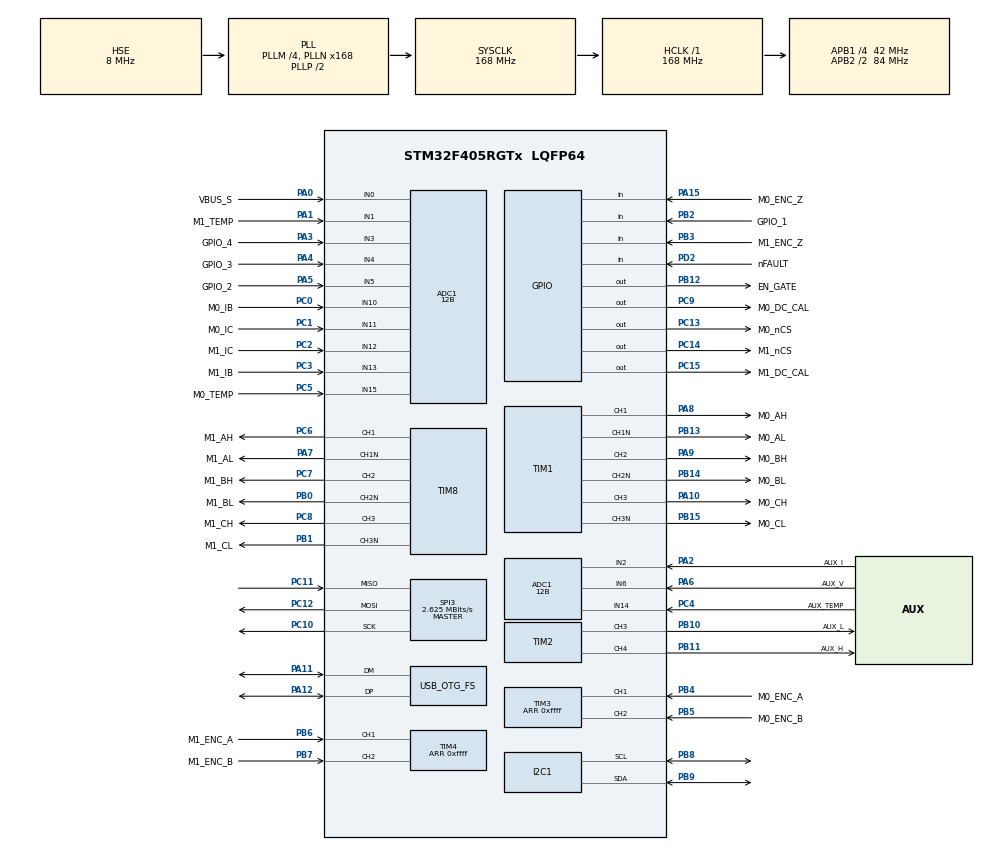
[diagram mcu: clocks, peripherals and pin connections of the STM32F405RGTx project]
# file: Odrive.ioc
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ADC1.AutoInjectedConv=DISABLE
ADC1.Channel-0\#ChannelRegularConversion=ADC_CHANNEL_5
ADC1.Channel-1\#ChannelInjectedConversion=ADC_CHANNEL_0
ADC1.ClockPrescaler=ADC_CLOCK_SYNC_PCLK_DIV4
ADC1.ContinuousConvMode=DISABLE
ADC1.DMAContinuousRequests=DISABLE
ADC1.DataAlign=ADC_DATAALIGN_RIGHT
ADC1.DiscontinuousConvMode=DISABLE
ADC1.EOCSelection=ADC_EOC_SINGLE_CONV
ADC1.EnableAnalogWatchDog=false
ADC1.ExternalTrigConv=ADC_SOFTWARE_START
ADC1.ExternalTrigConvEdge=ADC_EXTERNALTRIGCONVEDGE_NONE
ADC1.ExternalTrigInjecConv=ADC_EXTERNALTRIGINJECCONV_T1_CC4
ADC1.ExternalTrigInjecConvEdge=ADC_EXTERNALTRIGINJECCONVEDGE_RISING
ADC1.InjNumberOfConversion=1
ADC1.InjectedConvMode=None
ADC1.InjectedDiscontinuousConvMode=DISABLE
ADC1.InjectedOffset-1\#ChannelInjectedConversion=0
ADC1.NbrOfConversion=1
ADC1.NbrOfConversionFlag=1
ADC1.Rank-0\#ChannelRegularConversion=1
ADC1.Rank-1\#ChannelInjectedConversion=1
ADC1.Resolution=ADC_RESOLUTION_12B
ADC1.SamplingTime-0\#ChannelRegularConversion=ADC_SAMPLETIME_3CYCLES
ADC1.SamplingTime-1\#ChannelInjectedConversion=ADC_SAMPLETIME_3CYCLES
ADC1.ScanConvMode=DISABLE
ADC1.master=1
ADC2.AutoInjectedConv=DISABLE
ADC2.Channel-0\#ChannelRegularConversion=ADC_CHANNEL_13
ADC2.Channel-1\#ChannelInjectedConversion=ADC_CHANNEL_10
ADC2.ClockPrescaler=ADC_CLOCK_SYNC_PCLK_DIV4
ADC2.ContinuousConvMode=DISABLE
ADC2.DMAContinuousRequests=DISABLE
ADC2.DataAlign=ADC_DATAALIGN_RIGHT
ADC2.DiscontinuousConvMode=DISABLE
ADC2.EOCSelection=ADC_EOC_SINGLE_CONV
ADC2.EnableAnalogWatchDog=false
ADC2.ExternalTrigConv=ADC_EXTERNALTRIGCONV_T8_TRGO
ADC2.ExternalTrigConvEdge=ADC_EXTERNALTRIGCONVEDGE_RISING
ADC2.ExternalTrigInjecConv=ADC_EXTERNALTRIGINJECCONV_T1_CC4
ADC2.ExternalTrigInjecConvEdge=ADC_EXTERNALTRIGINJECCONVEDGE_RISING
ADC2.InjNumberOfConversion=1
ADC2.InjectedConvMode=None
ADC2.InjectedDiscontinuousConvMode=DISABLE
ADC2.InjectedOffset-1\#ChannelInjectedConversion=0
ADC2.NbrOfConversion=1
ADC2.NbrOfConversionFlag=1
ADC2.Rank-0\#ChannelRegularConversion=1
ADC2.Rank-1\#ChannelInjectedConversion=1
ADC2.Resolution=ADC_RESOLUTION_12B
ADC2.SamplingTime-0\#ChannelRegularConversion=ADC_SAMPLETIME_3CYCLES
ADC2.SamplingTime-1\#ChannelInjectedConversion=ADC_SAMPLETIME_3CYCLES
ADC2.ScanConvMode=DISABLE
ADC3.AutoInjectedConv=DISABLE
ADC3.Channel-7\#ChannelRegularConversion=ADC_CHANNEL_12
ADC3.Channel-8\#ChannelInjectedConversion=ADC_CHANNEL_11
ADC3.ClockPrescaler=ADC_CLOCK_SYNC_PCLK_DIV4
ADC3.ContinuousConvMode=DISABLE
ADC3.DMAContinuousRequests=DISABLE
ADC3.DataAlign=ADC_DATAALIGN_RIGHT
ADC3.DiscontinuousConvMode=DISABLE
ADC3.EOCSelection=ADC_EOC_SINGLE_CONV
ADC3.EnableAnalogWatchDog=false
ADC3.ExternalTrigConv=ADC_EXTERNALTRIGCONV_T8_TRGO
ADC3.ExternalTrigConvEdge=ADC_EXTERNALTRIGCONVEDGE_RISING
ADC3.ExternalTrigInjecConv=ADC_EXTERNALTRIGINJECCONV_T1_CC4
ADC3.ExternalTrigInjecConvEdge=ADC_EXTERNALTRIGINJECCONVEDGE_RISING
ADC3.InjNumberOfConversion=1
ADC3.InjectedConvMode=None
ADC3.InjectedDiscontinuousConvMode=DISABLE
ADC3.InjectedOffset-8\#ChannelInjectedConversion=0
ADC3.NbrOfConversion=1
ADC3.NbrOfConversionFlag=1
ADC3.Rank-7\#ChannelRegularConversion=1
ADC3.Rank-8\#ChannelInjectedConversion=1
ADC3.Resolution=ADC_RESOLUTION_12B
ADC3.SamplingTime-7\#ChannelRegularConversion=ADC_SAMPLETIME_3CYCLES
ADC3.SamplingTime-8\#ChannelInjectedConversion=ADC_SAMPLETIME_3CYCLES
ADC3.ScanConvMode=DISABLE
FREERTOS.INCLUDE_vTaskDelayUntil=1
FREERTOS.Tasks01=defaultTask,-3,256,StartDefaultTask,Default
FREERTOS.configUSE_ALTERNATIVE_API=0
I2C1.DutyCycle=I2C_DUTYCYCLE_2
Mcu.Family=STM32F4
Mcu.Name=STM32F405RGTx
Mcu.Package=LQFP64
Mcu.UserConstants=TIM_1_8_CLOCK_HZ,168000000;TIM_1_8_PERIOD_CLOCKS,10192;TIM_1_8_DEADTIME_CLOCKS,20;TIM_APB1_CLOCK_HZ,84000000;TIM_APB1_PERIOD_CLOCKS,4096;TIM_APB1_DEADTIME_CLOCKS,20
NVIC.ADC_IRQn=true\:5\:0\:false\:true\:true\:1\:true
NVIC.OTG_FS_IRQn=true\:5\:0\:false\:false\:true\:true
NVIC.PriorityGroup=NVIC_PRIORITYGROUP_4
PA0-WKUP.GPIO_Label=VBUS_S
PA0-WKUP.Signal=ADCx_IN0
PA1.GPIO_Label=M1_TEMP
PA1.Signal=ADCx_IN1
PA10.GPIO_Label=M0_CH
PA10.Signal=S_TIM1_CH3
PA11.Mode=Device_Only
PA11.Signal=USB_OTG_FS_DM
PA12.Mode=Device_Only
PA12.Signal=USB_OTG_FS_DP
PA13.Mode=Serial_Wire
PA13.Signal=SYS_JTMS-SWDIO
PA14.Mode=Serial_Wire
PA14.Signal=SYS_JTCK-SWCLK
PA15.GPIO_Label=M0_ENC_Z
PA15.Signal=GPIO_Input
PA2.GPIO_Label=AUX_I
PA2.Signal=ADCx_IN2
PA3.GPIO_Label=GPIO_4
PA3.Signal=ADCx_IN3
PA4.GPIO_Label=GPIO_3
PA4.Signal=ADCx_IN4
PA5.GPIO_Label=GPIO_2
PA5.Signal=ADCx_IN5
PA6.GPIO_Label=AUX_V
PA6.Signal=ADCx_IN6
PA7.GPIO_Label=M1_AL
PA7.Mode=PWM Generation1 CH1 CH1N
PA7.Signal=TIM8_CH1N
PA8.GPIO_Label=M0_AH
PA8.Signal=S_TIM1_CH1
PA9.GPIO_Label=M0_BH
PA9.Signal=S_TIM1_CH2
PB0.GPIO_Label=M1_BL
PB0.Mode=PWM Generation2 CH2 CH2N
PB0.Signal=TIM8_CH2N
PB1.GPIO_Label=M1_CL
PB1.Mode=PWM Generation3 CH3 CH3N
PB1.Signal=TIM8_CH3N
PB10.GPIO_Label=AUX_L
PB10.Signal=S_TIM2_CH3
PB11.GPIO_Label=AUX_H
PB11.Signal=S_TIM2_CH4
PB12.GPIO_Label=EN_GATE
PB12.Signal=GPIO_Output
PB13.GPIO_Label=M0_AL
PB13.Mode=PWM Generation1 CH1 CH1N
PB13.Signal=TIM1_CH1N
PB14.GPIO_Label=M0_BL
PB14.Mode=PWM Generation2 CH2 CH2N
PB14.Signal=TIM1_CH2N
PB15.GPIO_Label=M0_CL
PB15.Mode=PWM Generation3 CH3 CH3N
PB15.Signal=TIM1_CH3N
PB2.GPIO_Label=GPIO_1
PB2.Signal=GPIO_Input
PB3.GPIO_Label=M1_ENC_Z
PB3.Signal=GPIO_Input
PB4.GPIO_Label=M0_ENC_A
PB4.Signal=S_TIM3_CH1
PB5.GPIO_Label=M0_ENC_B
PB5.Signal=S_TIM3_CH2
PB6.GPIO_Label=M1_ENC_A
PB6.Signal=S_TIM4_CH1
PB7.GPIO_Label=M1_ENC_B
PB7.Signal=S_TIM4_CH2
PB8.Mode=I2C
PB8.Signal=I2C1_SCL
PB9.Mode=I2C
PB9.Signal=I2C1_SDA
PC0.GPIO_Label=M0_IB
PC0.Signal=ADCx_IN10
PC1.GPIO_Label=M0_IC
PC1.Signal=ADCx_IN11
PC10.Mode=Full_Duplex_Master
PC10.Signal=SPI3_SCK
PC11.Mode=Full_Duplex_Master
PC11.Signal=SPI3_MISO
PC12.Mode=Full_Duplex_Master
PC12.Signal=SPI3_MOSI
PC13-ANTI_TAMP.GPIO_Label=M0_nCS
PC13-ANTI_TAMP.PinState=GPIO_PIN_SET
PC13-ANTI_TAMP.Signal=GPIO_Output
PC14-OSC32_IN.GPIO_Label=M1_nCS
PC14-OSC32_IN.PinState=GPIO_PIN_SET
PC14-OSC32_IN.Signal=GPIO_Output
PC15-OSC32_OUT.GPIO_Label=M1_DC_CAL
PC15-OSC32_OUT.Signal=GPIO_Output
PC2.GPIO_Label=M1_IC
PC2.Signal=ADCx_IN12
PC3.GPIO_Label=M1_IB
PC3.Signal=ADCx_IN13
PC4.GPIO_Label=AUX_TEMP
PC4.Signal=ADCx_IN14
PC5.GPIO_Label=M0_TEMP
PC5.Signal=ADCx_IN15
PC6.GPIO_Label=M1_AH
PC6.Signal=S_TIM8_CH1
PC7.GPIO_Label=M1_BH
PC7.Signal=S_TIM8_CH2
PC8.GPIO_Label=M1_CH
PC8.Signal=S_TIM8_CH3
PC9.GPIO_Label=M0_DC_CAL
PC9.Signal=GPIO_Output
PD2.GPIO_Label=nFAULT
PD2.GPIO_PuPd=GPIO_PULLUP
PD2.Signal=GPIO_Input
PH0-OSC_IN.Mode=HSE-External-Oscillator
PH0-OSC_IN.Signal=RCC_OSC_IN
PH1-OSC_OUT.Mode=HSE-External-Oscillator
PH1-OSC_OUT.Signal=RCC_OSC_OUT
ProjectManager.HeapSize=0x3C00
ProjectManager.StackSize=0x800
ProjectManager.TargetToolchain=SW4STM32
RCC.48MHZClocksFreq_Value=48000000
RCC.AHBFreq_Value=168000000
RCC.APB1CLKDivider=RCC_HCLK_DIV4
RCC.APB1Freq_Value=42000000
RCC.APB1TimCLKDivider=2
RCC.APB1TimFreq_Value=84000000
RCC.APB2CLKDivider=RCC_HCLK_DIV2
RCC.APB2Freq_Value=84000000
RCC.APB2TimCLKDivider=1
RCC.APB2TimFreq_Value=84000000
RCC.ClockTypeHCLK=RCC_CLOCKTYPE_HCLK
RCC.ClockTypePCLK1=RCC_CLOCKTYPE_PCLK1
RCC.ClockTypePCLK2=RCC_CLOCKTYPE_PCLK2
RCC.ClockTypeSysClk=RCC_CLOCKTYPE_SYSCLK
RCC.CortexFreq_Value=168000000
RCC.EnableExtClockForI2S=false
RCC.EnableHSE=true
RCC.EnableHSERTCDevisor=false
RCC.EnableLSE=false
RCC.EnableLSERTC=false
RCC.ExtClockEnable=false
RCC.HCLKFreq_Value=168000000
RCC.HSEState=RCC_HSE_ON
RCC.HSE_VALUE=8000000
RCC.HSIState=RCC_HSI_OFF
RCC.HSI_VALUE=16000000
RCC.I2SEnable=false
RCC.IWDGEnable=false
RCC.LSE_VALUE=32768
RCC.LSIState=RCC_LSI_OFF
RCC.MCO1OutPutEnable=false
RCC.MCO2OutPutEnable=false
RCC.OscillatorTypeHSE=RCC_OSCILLATORTYPE_HSE
RCC.PLLM=4
RCC.PLLN=168
RCC.PLLQ=7
RCC.PLLSource=RCC_PLLSOURCE_HSE
RCC.PLLSourceVirtual=RCC_PLLSOURCE_HSE
RCC.PLLState=RCC_PLL_ON
RCC.RNGEnable=false
RCC.RTCEnable=false
RCC.SDIOEnable=false
RCC.SYSCLKFreq_VALUE=168000000
RCC.SYSCLKSource=RCC_SYSCLKSOURCE_PLLCLK
RCC.USBFSEnable=true
RCC.USBHSEnable=false
RCC.VCOOutputFreq_Value=336000000
SH.ADCx_IN0.0=ADC1_IN0,IN0
SH.ADCx_IN0.1=ADC2_IN0,IN0
SH.ADCx_IN1.0=ADC1_IN1,IN1
SH.ADCx_IN1.1=ADC2_IN1,IN1
SH.ADCx_IN10.0=ADC1_IN10,IN10
SH.ADCx_IN10.1=ADC2_IN10,IN10
SH.ADCx_IN10.2=ADC3_IN10,IN10
SH.ADCx_IN11.0=ADC1_IN11,IN11
SH.ADCx_IN11.1=ADC2_IN11,IN11
SH.ADCx_IN11.2=ADC3_IN11,IN11
SH.ADCx_IN12.0=ADC1_IN12,IN12
SH.ADCx_IN12.1=ADC2_IN12,IN12
SH.ADCx_IN12.2=ADC3_IN12,IN12
SH.ADCx_IN13.0=ADC1_IN13,IN13
SH.ADCx_IN13.1=ADC2_IN13,IN13
SH.ADCx_IN13.2=ADC3_IN13,IN13
SH.ADCx_IN14.0=ADC1_IN14,IN14
SH.ADCx_IN14.1=ADC2_IN14,IN14
SH.ADCx_IN15.0=ADC1_IN15,IN15
SH.ADCx_IN15.1=ADC2_IN15,IN15
SH.ADCx_IN2.0=ADC1_IN2,IN2
SH.ADCx_IN2.1=ADC2_IN2,IN2
SH.ADCx_IN3.0=ADC1_IN3,IN3
SH.ADCx_IN3.1=ADC2_IN3,IN3
SH.ADCx_IN4.0=ADC1_IN4,IN4
SH.ADCx_IN4.1=ADC2_IN4,IN4
SH.ADCx_IN5.0=ADC1_IN5,IN5
SH.ADCx_IN5.1=ADC2_IN5,IN5
SH.ADCx_IN6.0=ADC1_IN6,IN6
SH.ADCx_IN6.1=ADC2_IN6,IN6
SH.S_TIM1_CH1.0=TIM1_CH1,PWM Generation1 CH1 CH1N
SH.S_TIM1_CH2.0=TIM1_CH2,PWM Generation2 CH2 CH2N
SH.S_TIM1_CH3.0=TIM1_CH3,PWM Generation3 CH3 CH3N
SH.S_TIM2_CH3.0=TIM2_CH3,PWM Generation3 CH3
SH.S_TIM2_CH4.0=TIM2_CH4,PWM Generation4 CH4
SH.S_TIM3_CH1.0=TIM3_CH1,Encoder_Interface
SH.S_TIM3_CH2.0=TIM3_CH2,Encoder_Interface
SH.S_TIM4_CH1.0=TIM4_CH1,Encoder_Interface
SH.S_TIM4_CH2.0=TIM4_CH2,Encoder_Interface
SH.S_TIM8_CH1.0=TIM8_CH1,PWM Generation1 CH1 CH1N
SH.S_TIM8_CH2.0=TIM8_CH2,PWM Generation2 CH2 CH2N
SH.S_TIM8_CH3.0=TIM8_CH3,PWM Generation3 CH3 CH3N
SPI3.BaudRatePrescaler=SPI_BAUDRATEPRESCALER_16
SPI3.CLKPhase=SPI_PHASE_2EDGE
SPI3.CRCPolynomial=10
SPI3.CalculateBaudRate=2.625 MBits/s
SPI3.DataSize=SPI_DATASIZE_16BIT
SPI3.Direction=SPI_DIRECTION_2LINES
SPI3.FirstBit=SPI_FIRSTBIT_MSB
SPI3.Mode=SPI_MODE_MASTER
SPI3.VirtualType=VM_MASTER
TIM1.Channel-Output\ Compare4\ No\ Output=TIM_CHANNEL_4
TIM1.Channel-PWM\ Generation1\ CH1\ CH1N=TIM_CHANNEL_1
TIM1.Channel-PWM\ Generation2\ CH2\ CH2N=TIM_CHANNEL_2
TIM1.Channel-PWM\ Generation3\ CH3\ CH3N=TIM_CHANNEL_3
TIM1.CounterMode=TIM_COUNTERMODE_CENTERALIGNED3
TIM1.DeadTime=TIM_1_8_DEADTIME_CLOCKS
TIM1.DefaultOCFastMode-Output\ Compare4\ No\ Output=TIM_OCFAST_DISABLE
TIM1.OCMode_PWM-PWM\ Generation1\ CH1\ CH1N=TIM_OCMODE_PWM2
TIM1.OCMode_PWM-PWM\ Generation2\ CH2\ CH2N=TIM_OCMODE_PWM2
TIM1.OCMode_PWM-PWM\ Generation3\ CH3\ CH3N=TIM_OCMODE_PWM2
TIM1.OCNIdleState_4=TIM_OCNIDLESTATE_RESET
TIM1.OCNPolarity_1=TIM_OCNPOLARITY_HIGH
TIM1.OCNPolarity_2=TIM_OCNPOLARITY_HIGH
TIM1.OCNPolarity_3=TIM_OCNPOLARITY_HIGH
TIM1.OffStateIDLEMode=TIM_OSSI_ENABLE
TIM1.OffStateRunMode=TIM_OSSR_ENABLE
TIM1.Period=TIM_1_8_PERIOD_CLOCKS
TIM1.TIM_MasterOutputTrigger=TIM_TRGO_UPDATE
TIM2.Channel-PWM\ Generation3\ CH3=TIM_CHANNEL_3
TIM2.Channel-PWM\ Generation4\ CH4=TIM_CHANNEL_4
TIM2.CounterMode=TIM_COUNTERMODE_CENTERALIGNED3
TIM2.OCMode_PWM-PWM\ Generation3\ CH3=TIM_OCMODE_PWM2
TIM2.OCMode_PWM-PWM\ Generation4\ CH4=TIM_OCMODE_PWM2
TIM2.OCPolarity_3=TIM_OCPOLARITY_LOW
TIM2.Period=TIM_APB1_PERIOD_CLOCKS
TIM2.Pulse-PWM\ Generation4\ CH4=TIM_APB1_PERIOD_CLOCKS+1
TIM3.EncoderMode=TIM_ENCODERMODE_TI12
TIM3.IC1Filter=4
TIM3.IC1Polarity=TIM_ICPOLARITY_RISING
TIM3.IC2Filter=4
TIM3.IC2Polarity=TIM_ICPOLARITY_RISING
TIM3.Period=0xffff
TIM4.EncoderMode=TIM_ENCODERMODE_TI12
TIM4.IC1Filter=4
TIM4.IC1Polarity=TIM_ICPOLARITY_RISING
TIM4.IC2Filter=4
TIM4.IC2Polarity=TIM_ICPOLARITY_RISING
TIM4.Period=0xffff
TIM8.Channel-Output\ Compare4\ No\ Output=TIM_CHANNEL_4
TIM8.Channel-PWM\ Generation1\ CH1\ CH1N=TIM_CHANNEL_1
TIM8.Channel-PWM\ Generation2\ CH2\ CH2N=TIM_CHANNEL_2
TIM8.Channel-PWM\ Generation3\ CH3\ CH3N=TIM_CHANNEL_3
TIM8.CounterMode=TIM_COUNTERMODE_CENTERALIGNED3
TIM8.DeadTime=TIM_1_8_DEADTIME_CLOCKS
TIM8.OCMode_PWM-PWM\ Generation1\ CH1\ CH1N=TIM_OCMODE_PWM2
TIM8.OCMode_PWM-PWM\ Generation2\ CH2\ CH2N=TIM_OCMODE_PWM2
TIM8.OCMode_PWM-PWM\ Generation3\ CH3\ CH3N=TIM_OCMODE_PWM2
TIM8.OffStateIDLEMode=TIM_OSSI_ENABLE
TIM8.OffStateRunMode=TIM_OSSR_ENABLE
TIM8.Period=TIM_1_8_PERIOD_CLOCKS
TIM8.TIM_MasterOutputTrigger=TIM_TRGO_UPDATE
USB_DEVICE.CLASS_NAME_FS=CDC
USB_DEVICE.MANUFACTURER_STRING-CDC_FS=ODrive
USB_DEVICE.PID_CDC_FS=0x0D31
USB_DEVICE.PRODUCT_STRING_CDC_FS=ODrive rev 3.1
USB_DEVICE.SERIALNUMBER_STRING_CDC_FS=000000000001
USB_DEVICE.USBD_HandleTypeDef_FS=hUsbDevice_OTG_FS
USB_DEVICE.VID-CDC_FS=0x1209
USB_DEVICE.VirtualMode-CDC_FS=Cdc
USB_DEVICE.VirtualModeFS=Cdc_FS
USB_OTG_FS.VirtualMode=Device_Only
USB_OTG_FS.phy_itface=PCD_PHY_EMBEDDED
USB_OTG_FS.vbus_sensing_enable=DISABLE
VP_FREERTOS_VS_ENABLE.Mode=Enabled
VP_TIM1_VS_ClockSourceINT.Mode=Internal
VP_TIM1_VS_no_output4.Mode=Output Compare4 No Output
VP_USB_DEVICE_VS_USB_DEVICE_CDC_FS.Mode=CDC_FS
board=Odrive

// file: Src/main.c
/**
  ******************************************************************************
  * File Name          : main.c
  * Description        : Main program body
  ******************************************************************************
  *
  * Copyright (c) 2017 STMicroelectronics International N.V.
  * All rights reserved.
  *
  * Redistribution and use in source and binary forms, with or without
  * modification, are permitted, provided that the following conditions are met:
  *
  * 1. Redistribution of source code must retain the above copyright notice,
  *    this list of conditions and the following disclaimer.
  * 2. Redistributions in binary form must reproduce the above copyright notice,
  *    this list of conditions and the following disclaimer in the documentation
  *    and/or other materials provided with the distribution.
  * 3. Neither the name of STMicroelectronics nor the names of other
  *    contributors to this software may be used to endorse or promote products
  *    derived from this software without specific written permission.
  * 4. This software, including modifications and/or derivative works of this
  *    software, must execute solely and exclusively on microcontroller or
  *    microprocessor devices manufactured by or for STMicroelectronics.
  * 5. Redistribution and use of this software other than as permitted under
  *    this license is void and will automatically terminate your rights under
  *    this license.
  *
  * THIS SOFTWARE IS PROVIDED BY STMICROELECTRONICS AND CONTRIBUTORS "AS IS"
  * AND ANY EXPRESS, IMPLIED OR STATUTORY WARRANTIES, INCLUDING, BUT NOT
  * LIMITED TO, THE IMPLIED WARRANTIES OF MERCHANTABILITY, FITNESS FOR A
  * PARTICULAR PURPOSE AND NON-INFRINGEMENT OF THIRD PARTY INTELLECTUAL PROPERTY
  * RIGHTS ARE DISCLAIMED TO THE FULLEST EXTENT PERMITTED BY LAW. IN NO EVENT
  * SHALL STMICROELECTRONICS OR CONTRIBUTORS BE LIABLE FOR ANY DIRECT, INDIRECT,
  * INCIDENTAL, SPECIAL, EXEMPLARY, OR CONSEQUENTIAL DAMAGES (INCLUDING, BUT NOT
  * LIMITED TO, PROCUREMENT OF SUBSTITUTE GOODS OR SERVICES; LOSS OF USE, DATA,
  * OR PROFITS; OR BUSINESS INTERRUPTION) HOWEVER CAUSED AND ON ANY THEORY OF
  * LIABILITY, WHETHER IN CONTRACT, STRICT LIABILITY, OR TORT (INCLUDING
  * NEGLIGENCE OR OTHERWISE) ARISING IN ANY WAY OUT OF THE USE OF THIS SOFTWARE,
  * EVEN IF ADVISED OF THE POSSIBILITY OF SUCH DAMAGE.
  *
  ******************************************************************************
  */
#include "main.h"
#include "stm32f4xx_hal.h"
#include "cmsis_os.h"
#include "adc.h"
#include "i2c.h"
#include "spi.h"
#include "tim.h"
#include "usb_device.h"
#include "gpio.h"

/* USER CODE BEGIN PV */
/* Private variables ---------------------------------------------------------*/

/* USER CODE END PV */

void SystemClock_Config(void);
void Error_Handler(void);
void MX_FREERTOS_Init(void);
static void MX_NVIC_Init(void);

/* USER CODE BEGIN PFP */
/* Private function prototypes -----------------------------------------------*/

/* USER CODE END PFP */

int main(void)
{

  /* MCU Configuration----------------------------------------------------------*/

  /* Reset of all peripherals, Initializes the Flash interface and the Systick. */
  HAL_Init();

  /* Configure the system clock */
  SystemClock_Config();

  /* Initialize all configured peripherals */
  MX_GPIO_Init();
  MX_ADC1_Init();
  MX_ADC2_Init();
  MX_TIM1_Init();
  MX_TIM8_Init();
  MX_TIM3_Init();
  MX_TIM4_Init();
  MX_SPI3_Init();
  MX_ADC3_Init();
  MX_TIM2_Init();
  MX_I2C1_Init();

  /* Initialize interrupts */
  MX_NVIC_Init();

  /* USER CODE BEGIN 2 */

  //Required to use OC4 for ADC triggering.
  OC4_PWM_Override(&htim1);
  OC4_PWM_Override(&htim8);

  /* USER CODE END 2 */

  /* Call init function for freertos objects (in freertos.c) */
  MX_FREERTOS_Init();

  /* Start scheduler */
  osKernelStart();

  /* We should never get here as control is now taken by the scheduler */

  /* Infinite loop */
  while (1)
  {

  }

}

/** System Clock Configuration
*/
void SystemClock_Config(void)
{

  RCC_OscInitTypeDef RCC_OscInitStruct;
  RCC_ClkInitTypeDef RCC_ClkInitStruct;

    /**Configure the main internal regulator output voltage
    */
  __HAL_RCC_PWR_CLK_ENABLE();

  __HAL_PWR_VOLTAGESCALING_CONFIG(PWR_REGULATOR_VOLTAGE_SCALE1);

    /**Initializes the CPU, AHB and APB busses clocks
    */
  RCC_OscInitStruct.OscillatorType = RCC_OSCILLATORTYPE_HSE;
  RCC_OscInitStruct.HSEState = RCC_HSE_ON;
  RCC_OscInitStruct.PLL.PLLState = RCC_PLL_ON;
  RCC_OscInitStruct.PLL.PLLSource = RCC_PLLSOURCE_HSE;
  RCC_OscInitStruct.PLL.PLLM = 4;
  RCC_OscInitStruct.PLL.PLLN = 168;
  RCC_OscInitStruct.PLL.PLLP = RCC_PLLP_DIV2;
  RCC_OscInitStruct.PLL.PLLQ = 7;
  if (HAL_RCC_OscConfig(&RCC_OscInitStruct) != HAL_OK)
  {
    Error_Handler();
  }

    /**Initializes the CPU, AHB and APB busses clocks
    */
  RCC_ClkInitStruct.ClockType = RCC_CLOCKTYPE_HCLK|RCC_CLOCKTYPE_SYSCLK
                              |RCC_CLOCKTYPE_PCLK1|RCC_CLOCKTYPE_PCLK2;
  RCC_ClkInitStruct.SYSCLKSource = RCC_SYSCLKSOURCE_PLLCLK;
  RCC_ClkInitStruct.AHBCLKDivider = RCC_SYSCLK_DIV1;
  RCC_ClkInitStruct.APB1CLKDivider = RCC_HCLK_DIV4;
  RCC_ClkInitStruct.APB2CLKDivider = RCC_HCLK_DIV2;

  if (HAL_RCC_ClockConfig(&RCC_ClkInitStruct, FLASH_LATENCY_5) != HAL_OK)
  {
    Error_Handler();
  }

    /**Configure the Systick interrupt time
    */
  HAL_SYSTICK_Config(HAL_RCC_GetHCLKFreq()/1000);

    /**Configure the Systick
    */
  HAL_SYSTICK_CLKSourceConfig(SYSTICK_CLKSOURCE_HCLK);

  /* SysTick_IRQn interrupt configuration */
  HAL_NVIC_SetPriority(SysTick_IRQn, 15, 0);
}

/** NVIC Configuration
*/
static void MX_NVIC_Init(void)
{
  /* ADC_IRQn interrupt configuration */
  HAL_NVIC_SetPriority(ADC_IRQn, 5, 0);
  HAL_NVIC_EnableIRQ(ADC_IRQn);
}

void Error_Handler(void)
{
  while(1)
  {
  }
}

/************************ (C) COPYRIGHT STMicroelectronics *****END OF FILE****/

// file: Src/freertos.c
/**
  ******************************************************************************
  * File Name          : freertos.c
  * Description        : Code for freertos applications
  ******************************************************************************
  *
  * Copyright (c) 2017 STMicroelectronics International N.V.
  * All rights reserved.
  *
  * Redistribution and use in source and binary forms, with or without
  * modification, are permitted, provided that the following conditions are met:
  *
  * 1. Redistribution of source code must retain the above copyright notice,
  *    this list of conditions and the following disclaimer.
  * 2. Redistributions in binary form must reproduce the above copyright notice,
  *    this list of conditions and the following disclaimer in the documentation
  *    and/or other materials provided with the distribution.
  * 3. Neither the name of STMicroelectronics nor the names of other
  *    contributors to this software may be used to endorse or promote products
  *    derived from this software without specific written permission.
  * 4. This software, including modifications and/or derivative works of this
  *    software, must execute solely and exclusively on microcontroller or
  *    microprocessor devices manufactured by or for STMicroelectronics.
  * 5. Redistribution and use of this software other than as permitted under
  *    this license is void and will automatically terminate your rights under
  *    this license.
  *
  * THIS SOFTWARE IS PROVIDED BY STMICROELECTRONICS AND CONTRIBUTORS "AS IS"
  * AND ANY EXPRESS, IMPLIED OR STATUTORY WARRANTIES, INCLUDING, BUT NOT
  * LIMITED TO, THE IMPLIED WARRANTIES OF MERCHANTABILITY, FITNESS FOR A
  * PARTICULAR PURPOSE AND NON-INFRINGEMENT OF THIRD PARTY INTELLECTUAL PROPERTY
  * RIGHTS ARE DISCLAIMED TO THE FULLEST EXTENT PERMITTED BY LAW. IN NO EVENT
  * SHALL STMICROELECTRONICS OR CONTRIBUTORS BE LIABLE FOR ANY DIRECT, INDIRECT,
  * INCIDENTAL, SPECIAL, EXEMPLARY, OR CONSEQUENTIAL DAMAGES (INCLUDING, BUT NOT
  * LIMITED TO, PROCUREMENT OF SUBSTITUTE GOODS OR SERVICES; LOSS OF USE, DATA,
  * OR PROFITS; OR BUSINESS INTERRUPTION) HOWEVER CAUSED AND ON ANY THEORY OF
  * LIABILITY, WHETHER IN CONTRACT, STRICT LIABILITY, OR TORT (INCLUDING
  * NEGLIGENCE OR OTHERWISE) ARISING IN ANY WAY OUT OF THE USE OF THIS SOFTWARE,
  * EVEN IF ADVISED OF THE POSSIBILITY OF SUCH DAMAGE.
  *
  ******************************************************************************
  */

#include "FreeRTOS.h"
#include "task.h"
#include "cmsis_os.h"

/* USER CODE BEGIN Includes */
#include "freertos_vars.h"
#include "low_level.h"
#include "balance.h"
#include "version.h"
/* USER CODE END Includes */

osThreadId defaultTaskHandle;

/* USER CODE BEGIN Variables */
extern PCD_HandleTypeDef hpcd_USB_OTG_FS;
/* USER CODE END Variables */

void StartDefaultTask(void const * argument);

extern void MX_USB_DEVICE_Init(void);
void MX_FREERTOS_Init(void); /* (MISRA C 2004 rule 8.1) */

/* USER CODE BEGIN FunctionPrototypes */
void usb_cmd_thread(void const * argument);

/* USER CODE END FunctionPrototypes */

/* Hook prototypes */

/* Init FreeRTOS */

void MX_FREERTOS_Init(void) {

  /* USER CODE BEGIN RTOS_SEMAPHORES */
  // Init usb irq binary semaphore, and start with no tolkens by removing the starting one.
  osSemaphoreDef(sem_usb_irq);
  sem_usb_irq = osSemaphoreCreate(osSemaphore(sem_usb_irq), 1);
  osSemaphoreWait(sem_usb_irq, 0);
  /* USER CODE END RTOS_SEMAPHORES */

  /* Create the thread(s) */
  /* definition and creation of defaultTask */
  osThreadDef(defaultTask, StartDefaultTask, osPriorityIdle, 0, 256);
  defaultTaskHandle = osThreadCreate(osThread(defaultTask), NULL);

}

/* StartDefaultTask function */
void StartDefaultTask(void const * argument)
{
  /* init code for USB_DEVICE */
  MX_USB_DEVICE_Init();

  /* USER CODE BEGIN StartDefaultTask */

  // Init motor control
  init_motor_control();

  // Start motor threads
  osThreadDef(task_motor_0, motor_thread,   osPriorityHigh+1, 0, 512);
  osThreadDef(task_motor_1, motor_thread,   osPriorityHigh,   0, 512);
  thread_motor_0 = osThreadCreate(osThread(task_motor_0), &motors[0]);
  thread_motor_1 = osThreadCreate(osThread(task_motor_1), &motors[1]);

  // Start USB command handling thread
  // osThreadDef(task_usb_cmd, usb_cmd_thread, osPriorityNormal, 0, 512);
  // thread_usb_cmd = osThreadCreate(osThread(task_usb_cmd), NULL);

  // Start balancing thred
  osThreadDef(task_balance, balance_main,   osPriorityNormal, 0, 512);
  thread_balance = osThreadCreate(osThread(task_balance), &motors[0]);

  //If we get to here, then the default task is done.
  vTaskDelete(defaultTaskHandle);

  /* USER CODE END StartDefaultTask */
}

/* USER CODE BEGIN Application */

// Thread to handle deffered processing of USB interrupt
void usb_cmd_thread(void const * argument) {

  for (;;) {
    // Wait for signalling from USB interrupt (OTG_FS_IRQHandler)
    osSemaphoreWait(sem_usb_irq, osWaitForever);
    // Irq processing loop
    //while(HAL_NVIC_GetActive(OTG_FS_IRQn)) {
      HAL_PCD_IRQHandler(&hpcd_USB_OTG_FS);
    //}
    // Let the irq (OTG_FS_IRQHandler) fire again.
    HAL_NVIC_EnableIRQ(OTG_FS_IRQn);
  }

  // If we get here, then this task is done
  vTaskDelete(osThreadGetId());
}

/* USER CODE END Application */

/************************ (C) COPYRIGHT STMicroelectronics *****END OF FILE****/
